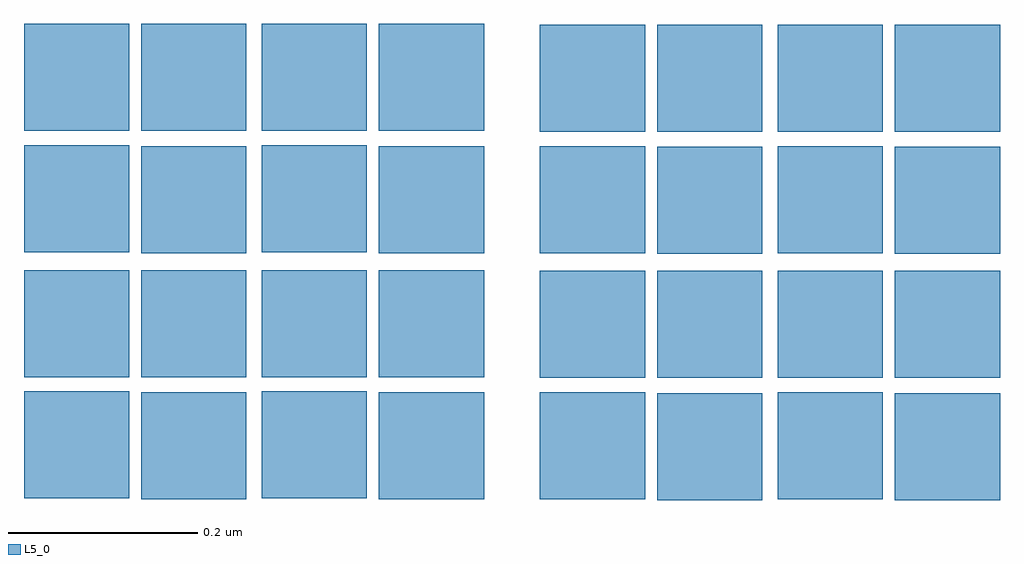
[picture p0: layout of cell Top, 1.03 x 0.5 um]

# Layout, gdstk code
import gdstk
lib = gdstk.Library(unit=1e-6, precision=1e-09)
def R(c, l, rs):  # rectangles x0, y0, x1, y1
    for r in rs: c.add(gdstk.rectangle(r[:2], r[2:], *l))
L5_0 = (5, 0)

box_array = lib.new_cell('Box_Array')
R(box_array, L5_0, [(-1.035,0.198,-0.924,0.311), (-0.784,0.198,-0.673,0.311), (-1.159,0.199,-1.048,0.312), (-0.908,0.199,-0.797,0.312), (-1.159,0.327,-1.048,0.44), (-1.035,0.327,-0.924,0.44), (-0.908,0.327,-0.797,0.44), (-0.784,0.327,-0.673,0.44), (-1.035,0.458,-0.924,0.571), (-0.784,0.458,-0.673,0.571), (-1.159,0.459,-1.048,0.572), (-0.908,0.459,-0.797,0.572), (-1.159,0.587,-1.048,0.7), (-1.035,0.587,-0.924,0.7), (-0.908,0.587,-0.797,0.7), (-0.784,0.587,-0.673,0.7)])

top = lib.new_cell('Top')
top.add(gdstk.Reference(box_array, (1.44,-0.148)))
top.add(gdstk.Reference(box_array, (1.985,-0.149)))

lib.write_gds('Top.gds')
